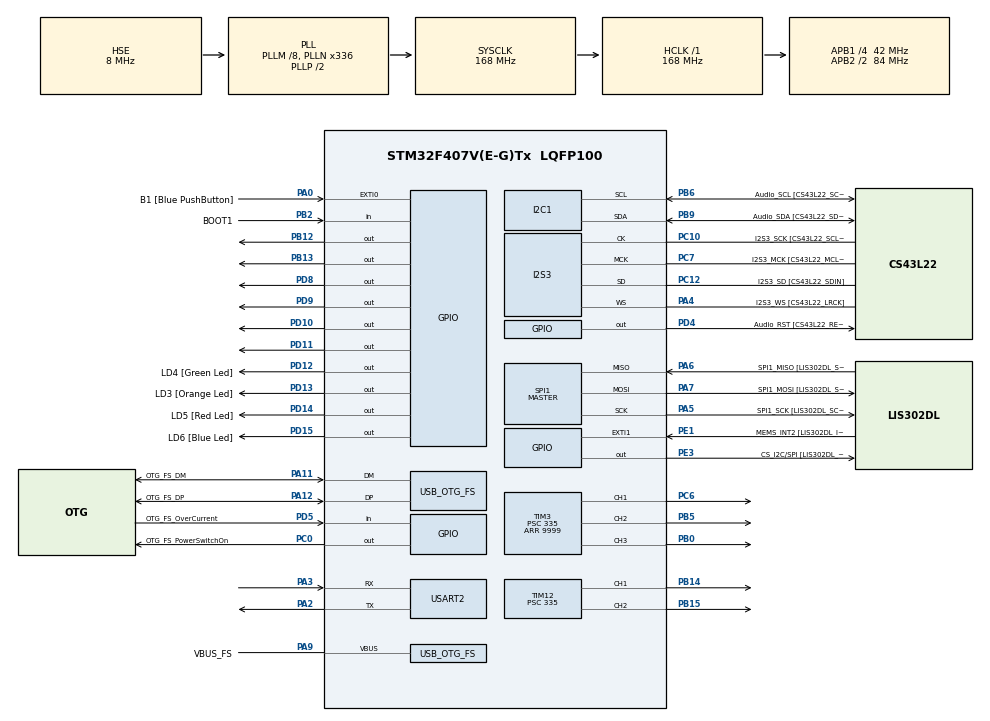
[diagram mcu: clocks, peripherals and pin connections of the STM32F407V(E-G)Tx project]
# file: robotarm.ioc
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I2S3.AudioFreq-Half_Duplex_Master=I2S_AUDIOFREQ_96K
I2S3.ErrorAudioFreq=-2.34 %
I2S3.ErrorAudioFreq-Half_Duplex_Master=0.8 %
I2S3.FullDuplexMode=I2S_FULLDUPLEXMODE_DISABLE
I2S3.Instance=SPI$Index
I2S3.RealAudioFreq=93.75 KHz
I2S3.RealAudioFreq-Half_Duplex_Master=96.774 KHz
I2S3.VirtualMode=I2S_MODE_MASTER
Mcu.Family=STM32F4
Mcu.Name=STM32F407V(E-G)Tx
Mcu.Package=LQFP100
NVIC.OTG_FS_IRQn=true\:0\:0\:false\:false\:true\:true\:true
NVIC.PriorityGroup=NVIC_PRIORITYGROUP_0
PA0-WKUP.GPIO_Label=B1 [Blue PushButton]
PA0-WKUP.GPIO_ModeDefaultEXTI=GPIO_MODE_EVT_RISING
PA0-WKUP.GPIO_PuPd=GPIO_NOPULL
PA0-WKUP.Signal=GPXTI0
PA10.GPIO_Label=OTG_FS_ID
PA10.GPIO_Mode=GPIO_MODE_AF_PP
PA10.GPIO_PuPd=GPIO_NOPULL
PA10.GPIO_Speed=GPIO_SPEED_FREQ_LOW
PA10.Signal=USB_OTG_FS_ID
PA11.GPIO_Label=OTG_FS_DM
PA11.GPIO_Mode=GPIO_MODE_AF_PP
PA11.GPIO_PuPd=GPIO_NOPULL
PA11.GPIO_Speed=GPIO_SPEED_FREQ_LOW
PA11.Mode=Host_Only
PA11.Signal=USB_OTG_FS_DM
PA12.GPIO_Label=OTG_FS_DP
PA12.GPIO_Mode=GPIO_MODE_AF_PP
PA12.GPIO_PuPd=GPIO_NOPULL
PA12.GPIO_Speed=GPIO_SPEED_FREQ_LOW
PA12.Mode=Host_Only
PA12.Signal=USB_OTG_FS_DP
PA13.GPIO_Label=SWDIO
PA13.Mode=Serial_Wire
PA13.Signal=SYS_JTMS-SWDIO
PA14.GPIO_Label=SWCLK
PA14.Mode=Serial_Wire
PA14.Signal=SYS_JTCK-SWCLK
PA2.Mode=Asynchronous
PA2.Signal=USART2_TX
PA3.Mode=Asynchronous
PA3.Signal=USART2_RX
PA4.GPIO_Label=I2S3_WS [CS43L22_LRCK]
PA4.GPIO_Mode=GPIO_MODE_AF_PP
PA4.GPIO_PuPd=GPIO_NOPULL
PA4.GPIO_Speed=GPIO_SPEED_FREQ_LOW
PA4.Mode=Half_Duplex_Master
PA4.Signal=I2S3_WS
PA5.GPIO_Label=SPI1_SCK [LIS302DL_SCL/SPC]
PA5.GPIO_Mode=GPIO_MODE_AF_PP
PA5.GPIO_PuPd=GPIO_NOPULL
PA5.GPIO_Speed=GPIO_SPEED_FREQ_LOW
PA5.Mode=Full_Duplex_Master
PA5.Signal=SPI1_SCK
PA6.GPIO_Label=SPI1_MISO [LIS302DL_SDO]
PA6.GPIO_Mode=GPIO_MODE_AF_PP
PA6.GPIO_PuPd=GPIO_NOPULL
PA6.GPIO_Speed=GPIO_SPEED_FREQ_LOW
PA6.Mode=Full_Duplex_Master
PA6.Signal=SPI1_MISO
PA7.GPIO_Label=SPI1_MOSI [LIS302DL_SDA/SDI/SDO]
PA7.GPIO_Mode=GPIO_MODE_AF_PP
PA7.GPIO_PuPd=GPIO_NOPULL
PA7.GPIO_Speed=GPIO_SPEED_FREQ_LOW
PA7.Mode=Full_Duplex_Master
PA7.Signal=SPI1_MOSI
PA9.GPIO_Label=VBUS_FS
PA9.GPIO_Mode=GPIO_MODE_INPUT
PA9.GPIO_PuPd=GPIO_NOPULL
PA9.Mode=Activate_VBUS
PA9.Signal=USB_OTG_FS_VBUS
PB0.Signal=S_TIM3_CH3
PB10.GPIO_Label=CLK_IN [MP45DT02_CLK]
PB10.GPIO_Mode=GPIO_MODE_AF_PP
PB10.GPIO_PuPd=GPIO_NOPULL
PB10.GPIO_Speed=GPIO_SPEED_FREQ_LOW
PB10.Signal=I2S2_CK
PB12.Signal=GPIO_Output
PB13.Signal=GPIO_Output
PB14.Signal=S_TIM12_CH1
PB15.Signal=S_TIM12_CH2
PB2.GPIO_Label=BOOT1
PB2.GPIO_Mode=GPIO_MODE_INPUT
PB2.GPIO_PuPd=GPIO_NOPULL
PB2.Signal=GPIO_Input
PB3.GPIO_Label=SWO
PB3.Signal=SYS_JTDO-SWO
PB5.Signal=S_TIM3_CH2
PB6.GPIO_Label=Audio_SCL [CS43L22_SCL]
PB6.GPIO_Mode=GPIO_MODE_AF_OD
PB6.GPIO_PuPd=GPIO_NOPULL
PB6.GPIO_Speed=GPIO_SPEED_FREQ_LOW
PB6.Mode=I2C
PB6.Signal=I2C1_SCL
PB9.GPIO_Label=Audio_SDA [CS43L22_SDA]
PB9.GPIO_Mode=GPIO_MODE_AF_OD
PB9.GPIO_PuPd=GPIO_NOPULL
PB9.GPIO_Speed=GPIO_SPEED_FREQ_LOW
PB9.Mode=I2C
PB9.Signal=I2C1_SDA
PC0.GPIO_Label=OTG_FS_PowerSwitchOn
PC0.GPIO_PuPd=GPIO_NOPULL
PC0.GPIO_Speed=GPIO_SPEED_FREQ_LOW
PC0.PinState=GPIO_PIN_SET
PC0.Signal=GPIO_Output
PC10.GPIO_Label=I2S3_SCK [CS43L22_SCLK]
PC10.GPIO_Mode=GPIO_MODE_AF_PP
PC10.GPIO_PuPd=GPIO_NOPULL
PC10.GPIO_Speed=GPIO_SPEED_FREQ_LOW
PC10.Mode=Half_Duplex_Master
PC10.Signal=I2S3_CK
PC12.GPIO_Label=I2S3_SD [CS43L22_SDIN]
PC12.GPIO_Mode=GPIO_MODE_AF_PP
PC12.GPIO_PuPd=GPIO_NOPULL
PC12.GPIO_Speed=GPIO_SPEED_FREQ_LOW
PC12.Mode=Half_Duplex_Master
PC12.Signal=I2S3_SD
PC14-OSC32_IN.GPIO_Label=PC14-OSC32_IN
PC14-OSC32_IN.Mode=LSE-External-Oscillator
PC14-OSC32_IN.Signal=RCC_OSC32_IN
PC15-OSC32_OUT.GPIO_Label=PC15-OSC32_OUT
PC15-OSC32_OUT.Mode=LSE-External-Oscillator
PC15-OSC32_OUT.Signal=RCC_OSC32_OUT
PC3.GPIO_Label=PDM_OUT [MP45DT02_DOUT]
PC3.GPIO_Mode=GPIO_MODE_AF_PP
PC3.GPIO_PuPd=GPIO_NOPULL
PC3.GPIO_Speed=GPIO_SPEED_FREQ_LOW
PC3.Signal=I2S2_SD
PC6.Signal=S_TIM3_CH1
PC7.GPIO_Label=I2S3_MCK [CS43L22_MCLK]
PC7.GPIO_Mode=GPIO_MODE_AF_PP
PC7.GPIO_PuPd=GPIO_NOPULL
PC7.GPIO_Speed=GPIO_SPEED_FREQ_LOW
PC7.Mode=Master_Clock_Activated
PC7.Signal=I2S3_MCK
PD10.Signal=GPIO_Output
PD11.Signal=GPIO_Output
PD12.GPIO_Label=LD4 [Green Led]
PD12.GPIO_PuPd=GPIO_NOPULL
PD12.GPIO_Speed=GPIO_SPEED_FREQ_LOW
PD12.Signal=GPIO_Output
PD13.GPIO_Label=LD3 [Orange Led]
PD13.GPIO_PuPd=GPIO_NOPULL
PD13.GPIO_Speed=GPIO_SPEED_FREQ_LOW
PD13.Signal=GPIO_Output
PD14.GPIO_Label=LD5 [Red Led]
PD14.GPIO_PuPd=GPIO_NOPULL
PD14.GPIO_Speed=GPIO_SPEED_FREQ_LOW
PD14.Signal=GPIO_Output
PD15.GPIO_Label=LD6 [Blue Led]
PD15.GPIO_PuPd=GPIO_NOPULL
PD15.GPIO_Speed=GPIO_SPEED_FREQ_LOW
PD15.Signal=GPIO_Output
PD4.GPIO_Label=Audio_RST [CS43L22_RESET]
PD4.GPIO_PuPd=GPIO_NOPULL
PD4.GPIO_Speed=GPIO_SPEED_FREQ_LOW
PD4.Signal=GPIO_Output
PD5.GPIO_Label=OTG_FS_OverCurrent
PD5.GPIO_Mode=GPIO_MODE_INPUT
PD5.GPIO_PuPd=GPIO_NOPULL
PD5.Signal=GPIO_Input
PD8.Signal=GPIO_Output
PD9.Signal=GPIO_Output
PE1.GPIO_Label=MEMS_INT2 [LIS302DL_INT2]
PE1.GPIO_ModeDefaultEXTI=GPIO_MODE_EVT_RISING
PE1.GPIO_PuPd=GPIO_NOPULL
PE1.Signal=GPXTI1
PE3.GPIO_Label=CS_I2C/SPI [LIS302DL_CS_I2C/SPI]
PE3.GPIO_PuPd=GPIO_NOPULL
PE3.GPIO_Speed=GPIO_SPEED_FREQ_LOW
PE3.Signal=GPIO_Output
PH0-OSC_IN.GPIO_Label=PH0-OSC_IN
PH0-OSC_IN.Mode=HSE-External-Oscillator
PH0-OSC_IN.Signal=RCC_OSC_IN
PH1-OSC_OUT.GPIO_Label=PH1-OSC_OUT
PH1-OSC_OUT.Mode=HSE-External-Oscillator
PH1-OSC_OUT.Signal=RCC_OSC_OUT
ProjectManager.HeapSize=0x200
ProjectManager.StackSize=0x400
ProjectManager.TargetToolchain=TrueSTUDIO
RCC.48MHZClocksFreq_Value=48000000
RCC.AHBFreq_Value=168000000
RCC.APB1CLKDivider=RCC_HCLK_DIV4
RCC.APB1Freq_Value=42000000
RCC.APB1TimFreq_Value=84000000
RCC.APB2CLKDivider=RCC_HCLK_DIV2
RCC.APB2Freq_Value=84000000
RCC.APB2TimFreq_Value=168000000
RCC.CortexFreq_Value=168000000
RCC.HCLKFreq_Value=168000000
RCC.HSE_VALUE=8000000
RCC.HSI_VALUE=16000000
RCC.PLLM=8
RCC.PLLN=336
RCC.PLLQ=7
RCC.SYSCLKFreq_VALUE=168000000
RCC.SYSCLKSource=RCC_SYSCLKSOURCE_PLLCLK
RCC.VCOOutputFreq_Value=336000000
SH.S_TIM12_CH1.0=TIM12_CH1,PWM Generation1 CH1
SH.S_TIM12_CH2.0=TIM12_CH2,PWM Generation2 CH2
SH.S_TIM3_CH1.0=TIM3_CH1,PWM Generation1 CH1
SH.S_TIM3_CH2.0=TIM3_CH2,PWM Generation2 CH2
SH.S_TIM3_CH3.0=TIM3_CH3,PWM Generation3 CH3
SPI1.BaudRatePrescaler-Full_Duplex_Master=SPI_BAUDRATEPRESCALER_2
SPI1.CalculateBaudRate-Full_Duplex_Master=42.0 MBits/s
SPI1.Direction=SPI_DIRECTION_2LINES
SPI1.Mode=SPI_MODE_MASTER
SPI1.Mode-Full_Duplex_Master=SPI_MODE_MASTER
SPI1.VirtualType=VM_MASTER
TIM12.Channel-PWM\ Generation1\ CH1=TIM_CHANNEL_1
TIM12.Channel-PWM\ Generation2\ CH2=TIM_CHANNEL_2
TIM12.Period=9999
TIM12.Prescaler=335
TIM12.Pulse-PWM\ Generation1\ CH1=420
TIM12.Pulse-PWM\ Generation2\ CH2=460
TIM3.Channel-PWM\ Generation1\ CH1=TIM_CHANNEL_1
TIM3.Channel-PWM\ Generation2\ CH2=TIM_CHANNEL_2
TIM3.Channel-PWM\ Generation3\ CH3=TIM_CHANNEL_3
TIM3.Period=9999
TIM3.Prescaler=335
TIM3.Pulse-PWM\ Generation1\ CH1=250
TIM3.Pulse-PWM\ Generation2\ CH2=100
TIM3.Pulse-PWM\ Generation3\ CH3=100
USART2.VirtualMode=VM_ASYNC
USB_HOST.BSP.number=1
USB_HOST.USBH_HandleTypeDef-CDC_FS=hUsbHostFS
USB_HOST.VirtualModeFS=Cdc
USB_HOST0.BSP.STBoard=false
USB_HOST0.BSP.api=Unknown
USB_HOST0.BSP.i2caddr=0
USB_HOST0.BSP.i2creg=0
USB_HOST0.BSP.instance=PC0
USB_HOST0.BSP.ip=GPIO
USB_HOST0.BSP.mode=Output
USB_HOST0.BSP.name=Drive_VBUS_FS
USB_HOST0.BSP.solution=PC0
USB_OTG_FS.VirtualMode=Host_Only
USB_OTG_FS.phy_itface=HCD_PHY_EMBEDDED
VP_TIM12_VS_ClockSourceINT.Mode=Internal
VP_TIM3_VS_ClockSourceINT.Mode=Internal
VP_USB_HOST_VS_USB_HOST_CDC_FS.Mode=CDC_FS
board=STM32F407G-DISC1

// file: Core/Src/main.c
/* USER CODE BEGIN Header */
/**
  ******************************************************************************
  * @file           : main.c
  * @brief          : Main program body
  ******************************************************************************
  * @attention
  *
  * <h2><center>&copy; Copyright (c) 2020 STMicroelectronics.
  * All rights reserved.</center></h2>
  *
  * This software component is licensed by ST under Ultimate Liberty license
  * SLA0044, the "License"; You may not use this file except in compliance with
  * the License. You may obtain a copy of the License at:
  *                             www.st.com/SLA0044
  *
  ******************************************************************************
  */
/* USER CODE END Header */
#include "main.h"
#include "i2c.h"
#include "i2s.h"
#include "spi.h"
#include "tim.h"
#include "usart.h"
#include "usb_host.h"
#include "gpio.h"

void SystemClock_Config(void);
void MX_USB_HOST_Process(void);

int main(void)
{

  /* MCU Configuration--------------------------------------------------------*/

  /* Reset of all peripherals, Initializes the Flash interface and the Systick. */
  HAL_Init();

  /* USER CODE BEGIN Init */
  uint8_t a=1;
  /* USER CODE END Init */

  /* Configure the system clock */
  SystemClock_Config();

  /* Initialize all configured peripherals */
  MX_GPIO_Init();
  MX_I2C1_Init();
  MX_I2S3_Init();
  MX_SPI1_Init();
  MX_TIM3_Init();
  MX_TIM12_Init();
  MX_USART2_UART_Init();
  MX_USB_HOST_Init();
  /* USER CODE BEGIN 2 */
  HAL_TIM_PWM_Start(&htim3, TIM_CHANNEL_1);
  HAL_TIM_PWM_Start(&htim3, TIM_CHANNEL_2);
  HAL_TIM_PWM_Start(&htim3, TIM_CHANNEL_3);
  HAL_TIM_PWM_Start(&htim12, TIM_CHANNEL_1);
  HAL_TIM_PWM_Start(&htim12, TIM_CHANNEL_2);

  uint8_t b = 17;
  /* USER CODE END 2 */

  /* Infinite loop */
  while (1)
  {
    MX_USB_HOST_Process();

    /* USER CODE BEGIN 3 */
//    int num;

    //initial state
/*
    TIM3->CCR1 = 250;
    TIM3->CCR2 = 100;
    TIM3->CCR3 = 100;
    TIM12->CCR1 = 420;
    TIM12->CCR2 = 460;
*/
    //MOTOR_WATERPUMP
        //1: LEFT
        //2: RIGHT
    /*
        HAL_GPIO_WritePin(GPIOB, GPIO_PIN_12, SET); //ENA1
        HAL_GPIO_WritePin(GPIOB, GPIO_PIN_13, RESET); //ENA2

        HAL_GPIO_WritePin(GPIOD, GPIO_PIN_8, SET); //FORWARD_1
        HAL_GPIO_WritePin(GPIOD, GPIO_PIN_9, RESET); //FORWARD_1
        HAL_GPIO_WritePin(GPIOD, GPIO_PIN_10, SET); //FORWARD_2
        HAL_GPIO_WritePin(GPIOD, GPIO_PIN_11, RESET); //FORWARD_2
         * */

    /*
    TIM3->CCR1 = 270;
    TIM3->CCR2 = 430;
    TIM3->CCR3 = 350;
    TIM12->CCR1 = 450;
    TIM12->CCR2 = 460;*/
    //HAL_GPIO_WritePin(GPIOB, GPIO_PIN_12, SET); //ENA1
    HAL_GPIO_WritePin(GPIOB, GPIO_PIN_13, RESET); //ENA2

    HAL_GPIO_WritePin(GPIOD, GPIO_PIN_8, SET); //FORWARD_1
    HAL_GPIO_WritePin(GPIOD, GPIO_PIN_9, RESET); //FORWARD_1
    //HAL_GPIO_WritePin(GPIOD, GPIO_P/IN_10, SET); //FORWARD_2
    //HAL_GPIO_WritePin(GPIOD, GPIO_PIN_11, RESET); //FORWARD_2

    /*
    TIM3->CCR1 = 50;
       TIM3->CCR2 = 400;
       TIM3->CCR3 = 440;
       TIM12->CCR1 = 450;
       TIM12->CCR2 = 460;
       */

    /*
    TIM3->CCR1 = 50;
    TIM3->CCR2 = 430;
 	TIM3->CCR3 = 350;
    TIM12->CCR1 = 460;
    TIM12->CCR2 = 460;
       */
/*far
    TIM3->CCR1 =100;
    TIM3->CCR2 = 300;
    TIM3->CCR3 = 440;
    TIM12->CCR1 = 400;
    TIM12->CCR2 = 460;

*/
/*
    TIM3->CCR1 = 50;
    TIM3->CCR2 = 450;
    TIM3->CCR3 = 440;
    TIM12->CCR1 = 500;
    TIM12->CCR2 = 460;

           */
    if (HAL_UART_Receive(&huart2, &a, 1, 100) == HAL_OK){
    	//HAL_UART_Transmit(&huart2, &b, 1, 100);

    	if(a=='8'){
    		 TIM3->CCR1 = 50;
    		 TIM3->CCR2 = 430;
    		 TIM3->CCR3 = 350;
    		 TIM12->CCR1 = 460;
    		 TIM12->CCR2 = 460;
    		}
    	if(a=='4'){
    	    TIM3->CCR1 = 50;
    	    TIM3->CCR2 = 400;
    	    TIM3->CCR3 = 440;
    	    TIM12->CCR1 = 450;
    	    TIM12->CCR2 = 460;
    	}
    	if(a=='1'){
    		TIM12->CCR2 = 360;
    		//TIM12->CCR1 = 420;
    	}
    	if(a=='2'){
    		TIM12->CCR2 = 400;
    	}
    	if(a=='3'){
    		TIM12->CCR2 = 500;
    	}
    	if(a=='7'){
    		HAL_GPIO_WritePin(GPIOB, GPIO_PIN_12, SET);
  	    }

    	if(a=='6'){
    		HAL_GPIO_WritePin(GPIOB, GPIO_PIN_12, RESET);
    	}
    	if(a=='5'){
    		TIM3->CCR1 = 300;
    	   	TIM3->CCR2 = 100;
    	    TIM3->CCR3 = 100;
    	    TIM12->CCR1 = 420;
    	    TIM12->CCR2 = 460;
    	}

    }

  }
  /* USER CODE END 3 */
}

void SystemClock_Config(void)
{
  RCC_OscInitTypeDef RCC_OscInitStruct = {0};
  RCC_ClkInitTypeDef RCC_ClkInitStruct = {0};
  RCC_PeriphCLKInitTypeDef PeriphClkInitStruct = {0};

  /** Configure the main internal regulator output voltage
  */
  __HAL_RCC_PWR_CLK_ENABLE();
  __HAL_PWR_VOLTAGESCALING_CONFIG(PWR_REGULATOR_VOLTAGE_SCALE1);
  /** Initializes the RCC Oscillators according to the specified parameters
  * in the RCC_OscInitTypeDef structure.
  */
  RCC_OscInitStruct.OscillatorType = RCC_OSCILLATORTYPE_HSE;
  RCC_OscInitStruct.HSEState = RCC_HSE_ON;
  RCC_OscInitStruct.PLL.PLLState = RCC_PLL_ON;
  RCC_OscInitStruct.PLL.PLLSource = RCC_PLLSOURCE_HSE;
  RCC_OscInitStruct.PLL.PLLM = 8;
  RCC_OscInitStruct.PLL.PLLN = 336;
  RCC_OscInitStruct.PLL.PLLP = RCC_PLLP_DIV2;
  RCC_OscInitStruct.PLL.PLLQ = 7;
  if (HAL_RCC_OscConfig(&RCC_OscInitStruct) != HAL_OK)
  {
    Error_Handler();
  }
  /** Initializes the CPU, AHB and APB buses clocks
  */
  RCC_ClkInitStruct.ClockType = RCC_CLOCKTYPE_HCLK|RCC_CLOCKTYPE_SYSCLK
                              |RCC_CLOCKTYPE_PCLK1|RCC_CLOCKTYPE_PCLK2;
  RCC_ClkInitStruct.SYSCLKSource = RCC_SYSCLKSOURCE_PLLCLK;
  RCC_ClkInitStruct.AHBCLKDivider = RCC_SYSCLK_DIV1;
  RCC_ClkInitStruct.APB1CLKDivider = RCC_HCLK_DIV4;
  RCC_ClkInitStruct.APB2CLKDivider = RCC_HCLK_DIV2;

  if (HAL_RCC_ClockConfig(&RCC_ClkInitStruct, FLASH_LATENCY_5) != HAL_OK)
  {
    Error_Handler();
  }
  PeriphClkInitStruct.PeriphClockSelection = RCC_PERIPHCLK_I2S;
  PeriphClkInitStruct.PLLI2S.PLLI2SN = 192;
  PeriphClkInitStruct.PLLI2S.PLLI2SR = 2;
  if (HAL_RCCEx_PeriphCLKConfig(&PeriphClkInitStruct) != HAL_OK)
  {
    Error_Handler();
  }
}

void Error_Handler(void)
{
}

/************************ (C) COPYRIGHT STMicroelectronics *****END OF FILE****/
